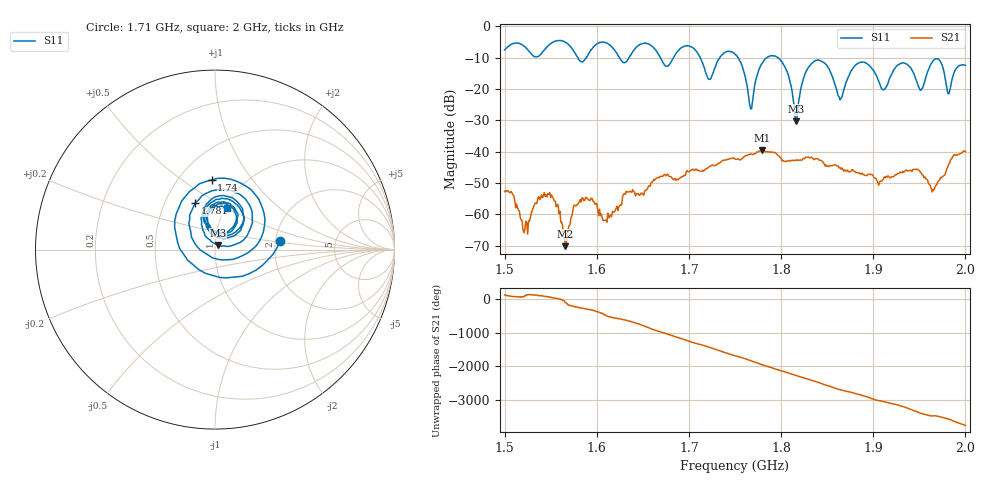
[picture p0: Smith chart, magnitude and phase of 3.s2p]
! NanoVNA-App by SYSJOINT et al v1.1.209 (+OD18)
! Date: 2026-01-21 14:19:00
! Start: 1,5GHz Stop: 2GHz Points: 501
! S-Parameter data: F S11 S21 S12 S22
# Hz S RI R 50
!  Frequency  S11_Real  S11_Imag  S21_Real  S21_Imag  S12_Real  S12_Imag  S22_Real  S22_Imag
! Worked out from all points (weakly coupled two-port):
!   501 points, 1.5 GHz to 2 GHz, reference 50 ohm
!   highest |S21| = -39.54 dB at 1.779 GHz (marker M1); lowest = -70.2 dB at 1.566 GHz (marker M2)
!   lowest |S11| = -30.3 dB at 1.816 GHz (marker M3), VSWR 1.06, Z = 51.7 + j2.63 ohm
!   |S11| at or under -10 dB: 1.712 GHz to 1.733 GHz (21.11 MHz wide, 1.23 % of centre); 1.753 GHz to 1.784 GHz (30.91 MHz wide, 1.75 % of centre); 1.797 GHz to end of sweep (the widest 3 of 6)
!   S12 and S22 are empty: the file has one direction only
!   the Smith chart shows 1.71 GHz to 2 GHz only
!   S11 on the Smith chart (normalised r, x): 1.71 GHz: 2.12, +0.24; 1.74 GHz: 0.71, +0.66; 1.781 GHz: 0.71, +0.40; 2 GHz: 1.02, +0.50
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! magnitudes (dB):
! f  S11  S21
! 1.5 GHz  -7.5  -52.7
! 1.523 GHz  -6.8  -62.2
! 1.55 GHz  -5.5  -54.6
! 1.566 GHz  -5.0  -70.2
! 1.584 GHz  -11.3  -54.7
! 1.609 GHz  -5.1  -61.9
! 1.667 GHz  -8.9  -48.1
! 1.71 GHz  -8.7  -45.8
! 1.74 GHz  -8.2  -42.6
! 1.75 GHz  -8.8  -42.4
! 1.767 GHz  -26.4  -40.7
! 1.779 GHz  -12.0  -39.5
! 1.781 GHz  -11.0  -39.6
! 1.802 GHz  -11.8  -42.7
! 1.816 GHz  -30.3  -42.8
! 1.834 GHz  -11.6  -42.0
! 1.864 GHz  -23.4  -45.1
! 1.886 GHz  -11.5  -47.1
! 1.917 GHz  -17.2  -48.0
! 1.965 GHz  -11.0  -52.0
! 1.982 GHz  -21.5  -44.0
! 2 GHz  -12.4  -40.0
